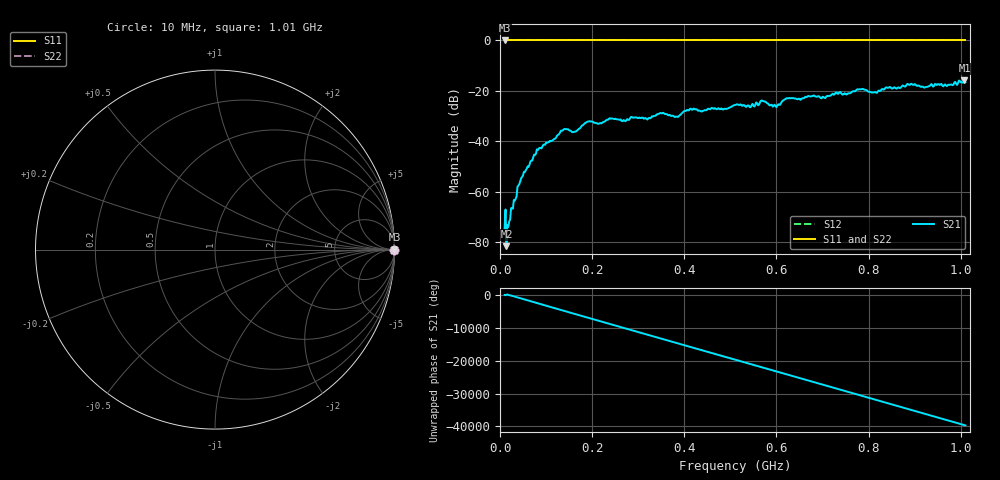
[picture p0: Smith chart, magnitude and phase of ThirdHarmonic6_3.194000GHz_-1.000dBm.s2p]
! 8/17/2025 9:40:54 AM
! C:\ANRITSUVNA\TEMP\TEMP.S2P
! CHANNEL.1
! TR.MEASUREMENT
! RAW.DATA
! RF.CORRECTION.OFF
! AVERAGING.OFF
! IF.BANDWIDTH: 5KHZ
! SWEEPTYPE:  FREQ.SWEEP(Linear)
! Reference Plane Port Info
! PORT:  PORT1  PORT2
! DISTANCE:  0  m  0  m
! TIME:  0  s  0  s
! PHASE.OFFSET:  0  deg.  0  deg.
! LOSS:  0  dB  0  dB
! REF.LOSS:  0  dB  0  dB
! REF.FREQ:  0  Hz  0  Hz
! Power Info
! POWER:  -20  dBm  -20  dBm
! EFF.POWER:  -20  dBm  -20  dBm
! SOURCE.ATTEN:  0  dB  0  dB
! TEST.ATTEN:  0  dB  0  dB
# GHZ S RI R 50.0
! FREQ.GHZ  S11RE  S11IM  S21RE  S21IM  S12RE  S12IM  S22RE  S22IM
!; PortSelection: Port_12
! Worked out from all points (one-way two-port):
!   501 points, 10 MHz to 1.01 GHz, reference 50 ohm
!   highest |S21| = -15.80 dB at 1.008 GHz (marker M1); lowest = -81.5 dB at 14 MHz (marker M2)
!   lowest |S11| = 0.0 dB at 10 MHz (marker M3)
!   |S11| at or under -10 dB: nowhere
!   |S22| runs from 0.0 to 0.0 dB; largest |S21 - S12| = 1.1
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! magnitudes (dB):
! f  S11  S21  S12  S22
! 10 MHz  0.0  -74.5  0.0  0.0
! 14 MHz  0.0  -81.5  0.0  0.0
! 18 MHz  0.0  -73.8  0.0  0.0
! 28 MHz  0.0  -66.7  0.0  0.0
! 42 MHz  0.0  -56.9  0.0  0.0
! 82 MHz  0.0  -43.4  0.0  0.0
! 136 MHz  0.0  -35.7  0.0  0.0
! 162 MHz  0.0  -36.2  0.0  0.0
! 178 MHz  0.0  -33.7  0.0  0.0
! 344 MHz  0.0  -29.1  0.0  0.0
! 384 MHz  0.0  -30.2  0.0  0.0
! 410 MHz  0.0  -27.7  0.0  0.0
! 510 MHz  0.0  -25.5  0.0  0.0
! 570 MHz  0.0  -23.9  0.0  0.0
! 596 MHz  0.0  -25.5  0.0  0.0
! 624 MHz  0.0  -22.9  0.0  0.0
! 678 MHz  0.0  -22.0  0.0  0.0
! 784 MHz  0.0  -19.3  0.0  0.0
! 814 MHz  0.0  -20.4  0.0  0.0
! 844 MHz  0.0  -18.6  0.0  0.0
! 1.008 GHz  0.0  -15.8  0.0  0.0
! 1.01 GHz  0.0  -16.6  0.0  0.0
